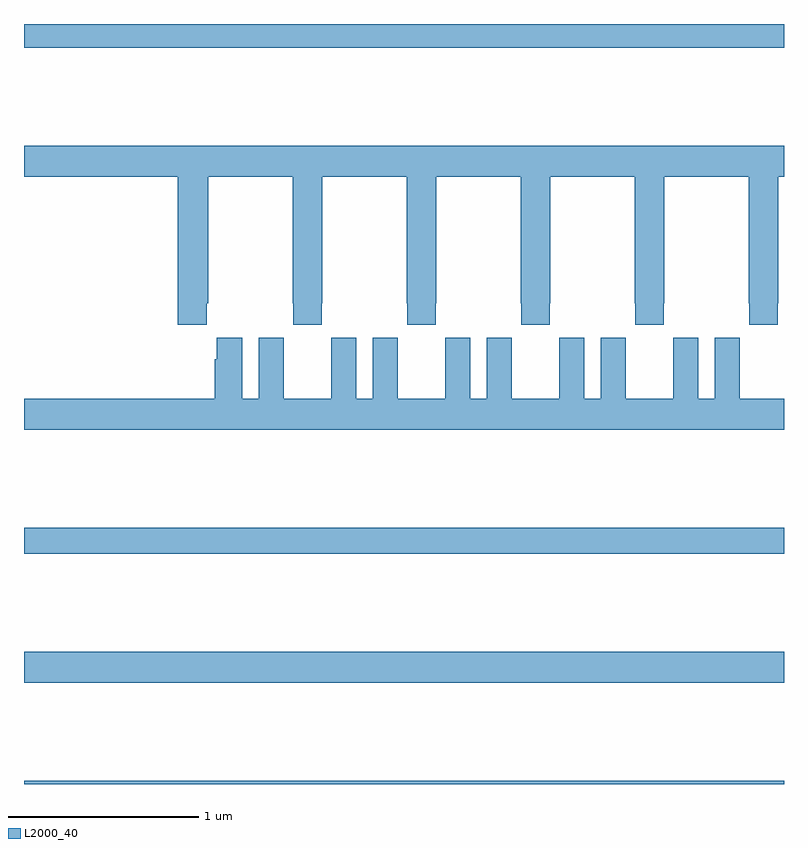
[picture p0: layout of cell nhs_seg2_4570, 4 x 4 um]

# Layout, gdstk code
import gdstk
lib = gdstk.Library(unit=1e-6, precision=1e-09)
def R(c, l, rs):  # rectangles x0, y0, x1, y1
    for r in rs: c.add(gdstk.rectangle(r[:2], r[2:], *l))
def P(c, l, *ps):  # polygons
    for p in ps: c.add(gdstk.Polygon(p, *l))
L2000_40 = (2000, 40)

nhs_seg2_4570 = lib.new_cell('nhs_seg2_4570')
R(nhs_seg2_4570, L2000_40, [(359,617.8,363,617.816), (359,618.332,363,618.496), (359,619.012,363,619.148), (359,621.676,363,621.8)])
P(nhs_seg2_4570, L2000_40, [(359.963,620.329),(359.97,620.329),(359.97,620.996),(360.415,620.996),(360.415,620.329),(360.417,620.329),(360.417,620.217),(360.567,620.217),(360.567,620.329),(360.57,620.329),(360.57,620.996),(361.015,620.996),(361.015,620.329),(361.017,620.329),(361.017,620.217),(361.167,620.217),(361.167,620.329),(361.17,620.329),(361.17,620.996),(361.615,620.996),(361.615,620.329),(361.617,620.329),(361.617,620.217),(361.767,620.217),(361.767,620.329),(361.77,620.329),(361.77,620.996),(362.215,620.996),(362.215,620.329),(362.217,620.329),(362.217,620.217),(362.367,620.217),(362.367,620.329),(362.37,620.329),(362.37,620.996),(362.815,620.996),(362.815,620.329),(362.817,620.329),(362.817,620.217),(362.967,620.217),(362.967,620.329),(362.97,620.329),(362.97,620.996),(363,620.996),(363,621.16),(359,621.16),(359,620.996),(359.81,620.996),(359.81,620.217),(359.963,620.217)],
  [(363,619.828),(362.767,619.828),(362.767,620.036),(362.766,620.036),(362.766,620.149),(362.636,620.149),(362.636,619.828),(362.548,619.828),(362.548,620.149),(362.418,620.149),(362.418,620.036),(362.417,620.036),(362.417,619.828),(362.167,619.828),(362.167,620.036),(362.166,620.036),(362.166,620.149),(362.036,620.149),(362.036,619.828),(361.948,619.828),(361.948,620.149),(361.818,620.149),(361.818,620.036),(361.817,620.036),(361.817,619.828),(361.567,619.828),(361.567,620.036),(361.566,620.036),(361.566,620.149),(361.436,620.149),(361.436,619.828),(361.348,619.828),(361.348,620.149),(361.218,620.149),(361.218,620.036),(361.217,620.036),(361.217,619.828),(360.967,619.828),(360.967,620.036),(360.966,620.036),(360.966,620.149),(360.836,620.149),(360.836,619.828),(360.748,619.828),(360.748,620.149),(360.618,620.149),(360.618,620.036),(360.617,620.036),(360.617,619.828),(360.367,619.828),(360.367,620.036),(360.366,620.036),(360.366,620.149),(360.236,620.149),(360.236,619.828),(360.148,619.828),(360.148,620.149),(360.014,620.149),(360.014,620.036),(360.005,620.036),(360.005,619.828),(359,619.828),(359,619.664),(363,619.664)])

lib.write_gds('nhs_seg2_4570.gds')
